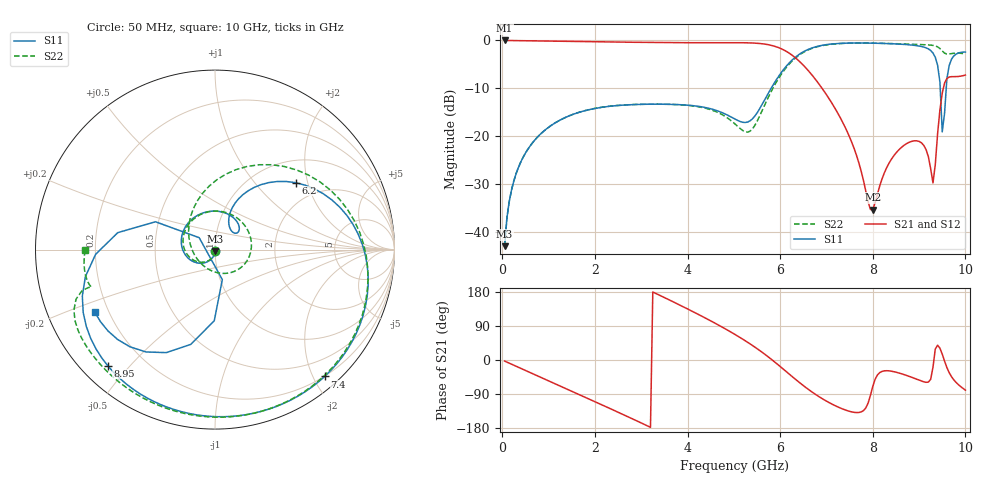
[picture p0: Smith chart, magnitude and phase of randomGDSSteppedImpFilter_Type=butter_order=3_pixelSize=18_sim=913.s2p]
! freq	dB(S11)	phase(S11)	dB(S12)	phase(S12)
!  dB(S21)	phase(S21)	dB(S22)	phase(S22)
!S-par simulation data
#  GHz  S  DB  R 50
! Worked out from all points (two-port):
!   200 points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, 50 MHz to 10 GHz, reference 50 ohm
!   highest |S21| = -0.02 dB at 50 MHz (marker M1); lowest = -35.4 dB at 8 GHz (marker M2)
!   |S21| within 3 dB of the highest: start of sweep to 6.246 GHz
!   lowest |S11| = -43.0 dB at 50 MHz (marker M3), VSWR 1.01, Z = 50.1 - j0.694 ohm
!   |S11| at or under -10 dB: start of sweep to 5.807 GHz; 9.456 GHz to 9.586 GHz (130.3 MHz wide, 1.37 % of centre)
!   |S22| runs from -43.0 to -0.6 dB; largest |S21 - S12| = 0
!   S11 on the Smith chart (normalised r, x): 50 MHz: 1.00, -0.01; 6.2 GHz: 1.49, +1.68; 7.4 GHz: 0.20, -2.17; 8.95 GHz: 0.08, -0.43; 10 GHz: 0.15, -0.24
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0.05  -43.05 -79.7  -0.02 -2.8  -0.02 -2.8  -42.99 -80.6
0.2  -31.25 -97.2  -0.03 -11.1  -0.03 -11.1  -31.26 -98.1
0.5  -23.58 -115.8  -0.07 -27.6  -0.07 -27.6  -23.58 -118.1
1.75  -14.79 178.3  -0.26 -96.2  -0.26 -96.2  -14.78 167.6
2.65  -13.52 133.7  -0.38 -146.2  -0.38 -146.2  -13.50 112.0
3.4  -13.35 97.6  -0.45 170.7  -0.45 170.7  -13.34 62.3
4.35  -13.98 53.8  -0.50 113.0  -0.50 113.0  -14.11 -7.3
5.05  -16.59 38.0  -0.49 65.6  -0.49 65.6  -17.70 -82.9
5.35  -16.83 54.2  -0.53 42.6  -0.53 42.6  -18.99 -152.4
5.7  -11.83 67.5  -0.83 12.3  -0.83 12.3  -12.79 126.3
6.2  -4.68 39.7  -2.71 -37.6  -2.71 -37.6  -4.91 56.3
6.7  -1.55 -1.8  -7.39 -85.5  -7.39 -85.5  -1.63 2.0
7.4  -0.59 -49.1  -18.10 -131.6  -18.10 -131.6  -0.62 -51.5
8  -0.58 -81.3  -35.38 -69.8  -35.38 -69.8  -0.58 -84.8
8.35  -0.68 -99.0  -25.70 -28.6  -25.70 -28.6  -0.65 -101.8
8.95  -1.10 -132.8  -21.01 -50.8  -21.01 -50.8  -0.84 -130.2
9.3  -2.64 -168.3  -29.82 -19.2  -29.82 -19.2  -1.05 -149.5
9.45  -8.73 154.9  -14.54 31.2  -14.54 31.2  -1.71 -160.4
9.5  -19.14 143.0  -11.03 15.5  -11.03 15.5  -2.21 -162.9
9.6  -8.03 -90.6  -8.00 -19.9  -8.00 -19.9  -2.86 -163.0
9.7  -3.95 -115.3  -7.59 -44.0  -7.59 -44.0  -2.76 -164.7
10  -2.44 -152.3  -7.26 -79.6  -7.26 -79.6  -2.81 -179.9
